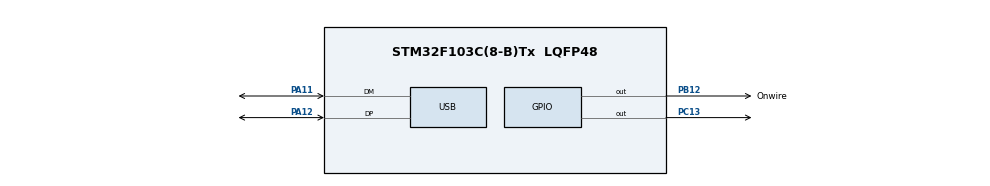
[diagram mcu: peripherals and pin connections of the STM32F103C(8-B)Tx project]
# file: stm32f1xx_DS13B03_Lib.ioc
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Mcu.Family=STM32F1
Mcu.Name=STM32F103C(8-B)Tx
Mcu.Package=LQFP48
NVIC.PriorityGroup=NVIC_PRIORITYGROUP_4
NVIC.USB_LP_CAN1_RX0_IRQn=true\:0\:0\:false\:false\:true\:false\:true
PA11.Mode=Device
PA11.Signal=USB_DM
PA12.Mode=Device
PA12.Signal=USB_DP
PA13.Mode=Serial_Wire
PA13.Signal=SYS_JTMS-SWDIO
PA14.Mode=Serial_Wire
PA14.Signal=SYS_JTCK-SWCLK
PB12.GPIO_Label=Onwire
PB12.Signal=GPIO_Output
PC13-TAMPER-RTC.Signal=GPIO_Output
PD0-OSC_IN.Mode=HSE-External-Oscillator
PD0-OSC_IN.Signal=RCC_OSC_IN
PD1-OSC_OUT.Mode=HSE-External-Oscillator
PD1-OSC_OUT.Signal=RCC_OSC_OUT
ProjectManager.HeapSize=0x400
ProjectManager.StackSize=0x400
ProjectManager.TargetToolchain=STM32CubeIDE
RCC.AHBFreq_Value=72000000
RCC.APB1CLKDivider=RCC_HCLK_DIV2
RCC.APB1Freq_Value=36000000
RCC.APB1TimFreq_Value=72000000
RCC.APB2Freq_Value=72000000
RCC.APB2TimFreq_Value=72000000
RCC.HCLKFreq_Value=72000000
RCC.PLLMUL=RCC_PLL_MUL9
RCC.SYSCLKFreq_VALUE=72000000
RCC.SYSCLKSource=RCC_SYSCLKSOURCE_PLLCLK
RCC.USBFreq_Value=48000000
RCC.USBPrescaler=RCC_USBCLKSOURCE_PLL_DIV1_5
USB_DEVICE.CLASS_NAME_FS=CDC
USB_DEVICE.VirtualMode=Cdc
USB_DEVICE.VirtualModeFS=Cdc_FS
VP_TIM2_VS_ClockSourceINT.Mode=Internal
VP_USB_DEVICE_VS_USB_DEVICE_CDC_FS.Mode=CDC_FS
board=custom

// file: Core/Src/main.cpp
/* USER CODE BEGIN Header */
/**
 ******************************************************************************
 * @file           : main.c
 * @brief          : Main program body
 ******************************************************************************
 * @attention
 *
 * <h2><center>&copy; Copyright (c) 2020 STMicroelectronics.
 * All rights reserved.</center></h2>
 *
 * This software component is licensed by ST under BSD 3-Clause license,
 * the "License"; You may not use this file except in compliance with the
 * License. You may obtain a copy of the License at:
 *                        opensource.org/licenses/BSD-3-Clause
 *
 ******************************************************************************
 */
/* USER CODE END Header */
#include "main.h"
#include "usb_device.h"

/* USER CODE BEGIN Includes */
#include "main.h"
#include "Print.h"
#include "usbd_cdc_if.h"

#include "OneWire.h"
#include "DS18B20.h"

/* USER CODE END Includes */

TIM_HandleTypeDef htim2;

/* USER CODE BEGIN PV */

class Usb: public Print
{
public:

    Usb();
    virtual void write( uint8_t * text );
};

Usb::Usb()
{

}

void Usb::write( uint8_t * text )
{

    CDC_Transmit_FS( text, strlen( (char*) text ) );
}

Usb usb;

OneWire_t OW;

/* Array for DS18B20 ROM number */
uint8_t DS_ROM[8];

/* Temperature variable */
float temp;
/* USER CODE END PV */

void SystemClock_Config( void );
static void MX_GPIO_Init( void );
static void MX_TIM2_Init( void );
/* USER CODE BEGIN PFP */

void CDC_ReceiveCallBack( uint8_t * Buf, uint16_t Len );

/* USER CODE END PFP */

int main( void )
{

    /* MCU Configuration--------------------------------------------------------*/

    /* Reset of all peripherals, Initializes the Flash interface and the Systick. */
    HAL_Init();

    /* Configure the system clock */
    SystemClock_Config();

    /* Initialize all configured peripherals */
    MX_GPIO_Init();
    MX_TIM2_Init();
    MX_USB_DEVICE_Init();
    /* USER CODE BEGIN 2 */

    /* the high temperature indicator LED starts off */
    HAL_GPIO_WritePin( GPIOC, GPIO_PIN_13, GPIO_PIN_SET );

    usb.print( "starting... \r\n" );

    /* USER CODE END 2 */

    /* Infinite loop */
    /* USER CODE BEGIN WHILE */

    OneWire_Init( &OW, Onwire_GPIO_Port, Onwire_Pin, htim2 );
    if ( OneWire_First( &OW ) )
    {
        /* Set LED GREEN */

        /* Read ROM number */
        OneWire_GetFullROM( &OW, DS_ROM );
    }
    else
    {

    }

    /* Start temp conversion */
    if ( DS18B20_Is( DS_ROM ) )
    {
        /* Set resolution */
        DS18B20_SetResolution( &OW, DS_ROM, DS18B20_Resolution_11bits );

        /* Set high and low alarms */
        DS18B20_SetAlarmHighTemperature( &OW, DS_ROM, 30 );
        DS18B20_SetAlarmLowTemperature( &OW, DS_ROM, 10 );

        /* Start conversion on all sensors */
        DS18B20_StartAll( &OW );
    }
    while ( 1 )
    {
        HAL_Delay( 700 );
        /* Check if connected device is DS18B20 */
        if ( DS18B20_Is( DS_ROM ) )
        {
            /* Everything is done */
            if ( DS18B20_AllDone( &OW ) )
            {
                /* Read temperature from device */
                if ( DS18B20_Read( &OW, DS_ROM, &temp ) )
                {
                    usb.print( "Temperature = %.3f \r\n", temp );
                    /* Start again on all sensors */
                    DS18B20_StartAll( &OW );

                    /* Check temperature */
                    if ( temp > 30 )
                    {
                        /* the high temperature indicator LED turns on */
                        HAL_GPIO_WritePin( GPIOC, GPIO_PIN_13, GPIO_PIN_RESET );
                    }
                    else
                    {
                        /* turns off the high temperature indicator led */
                        HAL_GPIO_WritePin( GPIOC, GPIO_PIN_13, GPIO_PIN_SET );
                    }
                }
                else
                {
                    /* CRC failed, hardware problems on data line */
                }
            }
        }
        /* USER CODE END WHILE */

    }
}

void SystemClock_Config( void )
{
    RCC_OscInitTypeDef RCC_OscInitStruct =
    { 0 };
    RCC_ClkInitTypeDef RCC_ClkInitStruct =
    { 0 };
    RCC_PeriphCLKInitTypeDef PeriphClkInit =
    { 0 };

    /** Initializes the RCC Oscillators according to the specified parameters
     * in the RCC_OscInitTypeDef structure.
     */
    RCC_OscInitStruct.OscillatorType = RCC_OSCILLATORTYPE_HSE;
    RCC_OscInitStruct.HSEState = RCC_HSE_ON;
    RCC_OscInitStruct.HSEPredivValue = RCC_HSE_PREDIV_DIV1;
    RCC_OscInitStruct.HSIState = RCC_HSI_ON;
    RCC_OscInitStruct.PLL.PLLState = RCC_PLL_ON;
    RCC_OscInitStruct.PLL.PLLSource = RCC_PLLSOURCE_HSE;
    RCC_OscInitStruct.PLL.PLLMUL = RCC_PLL_MUL9;
    if ( HAL_RCC_OscConfig( &RCC_OscInitStruct ) != HAL_OK )
    {
        Error_Handler();
    }
    /** Initializes the CPU, AHB and APB buses clocks
     */
    RCC_ClkInitStruct.ClockType = RCC_CLOCKTYPE_HCLK | RCC_CLOCKTYPE_SYSCLK
            | RCC_CLOCKTYPE_PCLK1 | RCC_CLOCKTYPE_PCLK2;
    RCC_ClkInitStruct.SYSCLKSource = RCC_SYSCLKSOURCE_PLLCLK;
    RCC_ClkInitStruct.AHBCLKDivider = RCC_SYSCLK_DIV1;
    RCC_ClkInitStruct.APB1CLKDivider = RCC_HCLK_DIV2;
    RCC_ClkInitStruct.APB2CLKDivider = RCC_HCLK_DIV1;

    if ( HAL_RCC_ClockConfig( &RCC_ClkInitStruct, FLASH_LATENCY_2 ) != HAL_OK )
    {
        Error_Handler();
    }
    PeriphClkInit.PeriphClockSelection = RCC_PERIPHCLK_USB;
    PeriphClkInit.UsbClockSelection = RCC_USBCLKSOURCE_PLL_DIV1_5;
    if ( HAL_RCCEx_PeriphCLKConfig( &PeriphClkInit ) != HAL_OK )
    {
        Error_Handler();
    }
}

static void MX_TIM2_Init( void )
{

    TIM_ClockConfigTypeDef sClockSourceConfig =
    { 0 };
    TIM_MasterConfigTypeDef sMasterConfig =
    { 0 };

    htim2.Instance = TIM2;
    htim2.Init.Prescaler = 0;
    htim2.Init.CounterMode = TIM_COUNTERMODE_UP;
    htim2.Init.Period = 65535;
    htim2.Init.ClockDivision = TIM_CLOCKDIVISION_DIV1;
    htim2.Init.AutoReloadPreload = TIM_AUTORELOAD_PRELOAD_DISABLE;
    if ( HAL_TIM_Base_Init( &htim2 ) != HAL_OK )
    {
        Error_Handler();
    }
    sClockSourceConfig.ClockSource = TIM_CLOCKSOURCE_INTERNAL;
    if ( HAL_TIM_ConfigClockSource( &htim2, &sClockSourceConfig ) != HAL_OK )
    {
        Error_Handler();
    }
    sMasterConfig.MasterOutputTrigger = TIM_TRGO_RESET;
    sMasterConfig.MasterSlaveMode = TIM_MASTERSLAVEMODE_DISABLE;
    if ( HAL_TIMEx_MasterConfigSynchronization( &htim2, &sMasterConfig )
            != HAL_OK )
    {
        Error_Handler();
    }

}

static void MX_GPIO_Init( void )
{
    GPIO_InitTypeDef GPIO_InitStruct =
    { 0 };

    /* GPIO Ports Clock Enable */
    __HAL_RCC_GPIOC_CLK_ENABLE( );
    __HAL_RCC_GPIOD_CLK_ENABLE( );
    __HAL_RCC_GPIOB_CLK_ENABLE( );
    __HAL_RCC_GPIOA_CLK_ENABLE( );

    /*Configure GPIO pin Output Level */
    HAL_GPIO_WritePin( GPIOC, GPIO_PIN_13, GPIO_PIN_RESET );

    /*Configure GPIO pin Output Level */
    HAL_GPIO_WritePin( Onwire_GPIO_Port, Onwire_Pin, GPIO_PIN_RESET );

    /*Configure GPIO pin : PC13 */
    GPIO_InitStruct.Pin = GPIO_PIN_13;
    GPIO_InitStruct.Mode = GPIO_MODE_OUTPUT_PP;
    GPIO_InitStruct.Pull = GPIO_NOPULL;
    GPIO_InitStruct.Speed = GPIO_SPEED_FREQ_LOW;
    HAL_GPIO_Init( GPIOC, &GPIO_InitStruct );

    /*Configure GPIO pin : Onwire_Pin */
    GPIO_InitStruct.Pin = Onwire_Pin;
    GPIO_InitStruct.Mode = GPIO_MODE_OUTPUT_PP;
    GPIO_InitStruct.Pull = GPIO_NOPULL;
    GPIO_InitStruct.Speed = GPIO_SPEED_FREQ_LOW;
    HAL_GPIO_Init( Onwire_GPIO_Port, &GPIO_InitStruct );

}

/* USER CODE BEGIN 4 */
void CDC_ReceiveCallBack( uint8_t * Buf, uint16_t Len )
{
    HAL_GPIO_TogglePin( GPIOC, GPIO_PIN_13 );
    usb.print( Buf );
}
/* USER CODE END 4 */

void Error_Handler( void )
{
}

/************************ (C) COPYRIGHT STMicroelectronics *****END OF FILE****/
